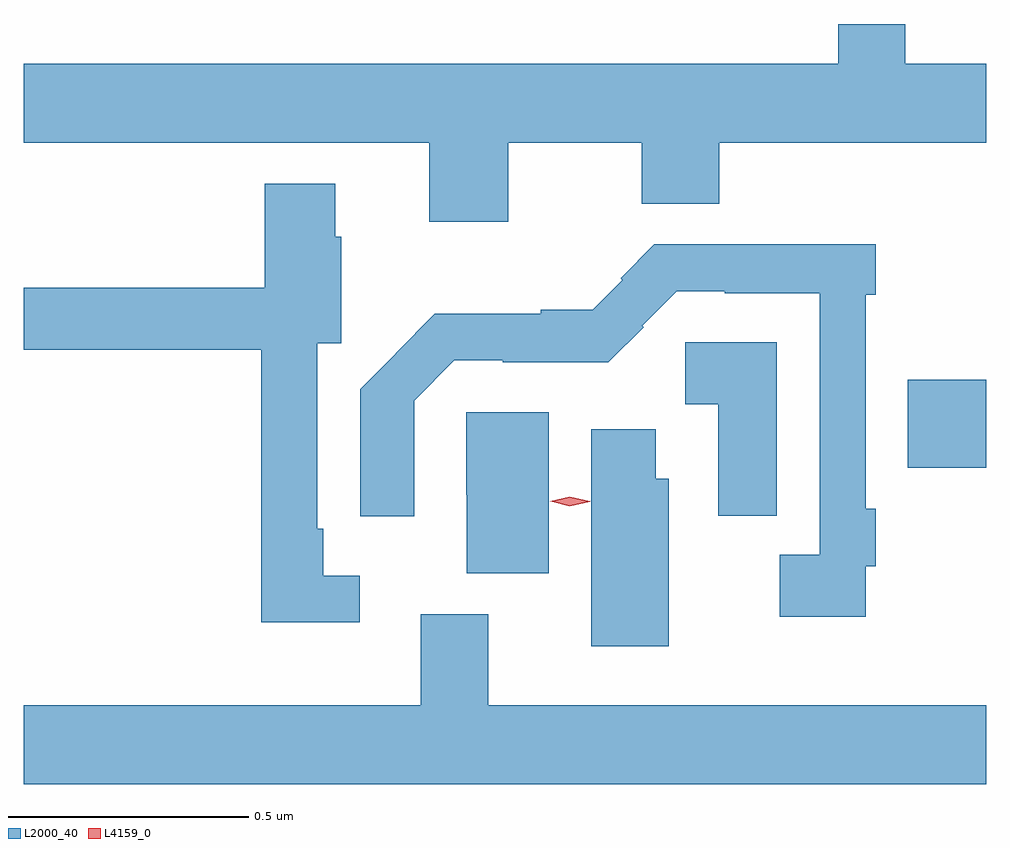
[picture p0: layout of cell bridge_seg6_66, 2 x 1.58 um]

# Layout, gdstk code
import gdstk
lib = gdstk.Library(unit=1e-6, precision=1e-09)
def R(c, l, rs):  # rectangles x0, y0, x1, y1
    for r in rs: c.add(gdstk.rectangle(r[:2], r[2:], *l))
def P(c, l, *ps):  # polygons
    for p in ps: c.add(gdstk.Polygon(p, *l))
L2000_40 = (2000, 40)
L4159_0 = (4159, 0)

bridge_seg6_66 = lib.new_cell('bridge_seg6_66')
R(bridge_seg6_66, L2000_40, [(654.864,969.305,655.027,969.488)])
P(bridge_seg6_66, L2000_40, [(654.034,969.98),(654.311,969.98),(654.311,969.854),(654.472,969.854),(654.472,969.98),(655.027,969.98),(655.027,970.144),(654.859,970.144),(654.859,970.227),(654.719,970.227),(654.719,970.144),(653.027,970.144),(653.027,969.98),(653.87,969.98),(653.87,969.816),(654.034,969.816)],
  [(653.725,969.081),(653.649,969.081),(653.649,969.178),(653.637,969.178),(653.637,969.564),(653.687,969.564),(653.687,969.785),(653.674,969.785),(653.674,969.895),(653.528,969.895),(653.528,969.679),(653.027,969.679),(653.027,969.55),(653.521,969.55),(653.521,968.984),(653.725,968.984)],
  [(654.777,969.1),(654.797,969.1),(654.797,969.22),(654.777,969.22),(654.777,969.665),(654.797,969.665),(654.797,969.769),(654.337,969.769),(654.267,969.699),(654.271,969.695),(654.209,969.633),(654.101,969.633),(654.101,969.625),(653.881,969.625),(653.8,969.543),(653.8,969.542),(653.726,969.468),(653.726,969.204),(653.838,969.204),(653.838,969.444),(653.922,969.528),(654.022,969.528),(654.022,969.524),(654.241,969.524),(654.315,969.597),(654.312,969.6),(654.384,969.672),(654.484,969.672),(654.484,969.668),(654.681,969.668),(654.681,969.124),(654.598,969.124),(654.598,968.996),(654.777,968.996)],
  [(654.592,969.566),(654.402,969.566),(654.402,969.437),(654.47,969.437),(654.47,969.205),(654.592,969.205)],
  [(654.118,969.42),(653.946,969.42),(653.946,969.249),(653.948,969.249),(653.948,969.086),(654.118,969.086)],
  [(654.367,969.282),(654.34,969.282),(654.34,969.385),(654.206,969.385),(654.206,968.934),(654.367,968.934)],
  [(655.027,968.812),(653.992,968.812),(653.992,969.001),(653.852,969.001),(653.852,968.812),(653.027,968.812),(653.027,968.648),(655.027,968.648)])
P(bridge_seg6_66, L4159_0, [(654.162,969.225),(654.121,969.235),(654.121,969.235),(654.121,969.235),(654.162,969.245),(654.203,969.235),(654.204,969.235),(654.203,969.234)])

lib.write_gds('bridge_seg6_66.gds')
